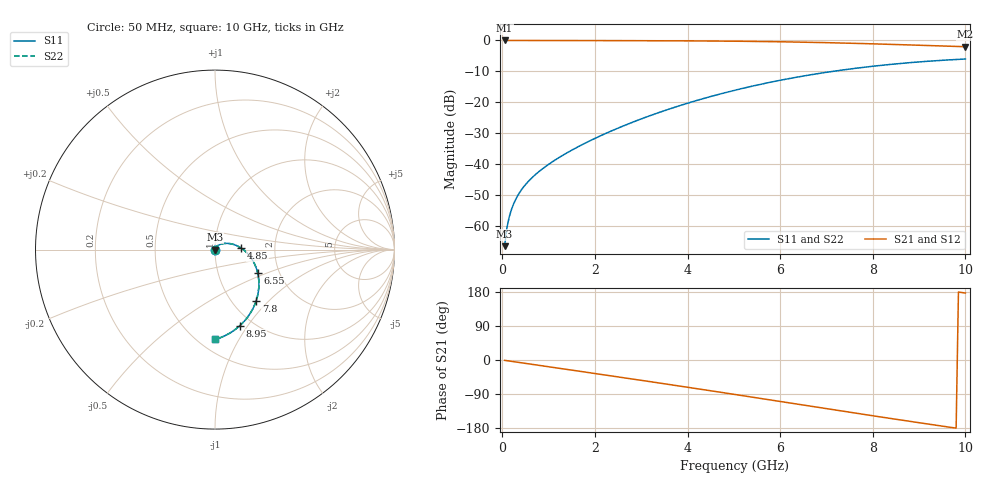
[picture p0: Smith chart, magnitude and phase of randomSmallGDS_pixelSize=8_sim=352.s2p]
! freq	dB(S11)	phase(S11)	dB(S12)	phase(S12)
!  dB(S21)	phase(S21)	dB(S22)	phase(S22)
!S-par simulation data
#  GHz  S  DB  R 50
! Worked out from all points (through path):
!   200 points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, 50 MHz to 10 GHz, reference 50 ohm
!   highest |S21| = 0.00 dB at 50 MHz (marker M1); lowest = -2.0 dB at 10 GHz (marker M2)
!   group delay of S21, straight-line fit = 51.4 ps
!   lowest |S11| = -66.6 dB at 50 MHz (marker M3), VSWR 1.00, Z = 50 + j0.0463 ohm
!   |S11| at or under -10 dB: start of sweep to 7.141 GHz
!   |S22| runs from -66.6 to -6.0 dB; largest |S21 - S12| = 0
!   S11 on the Smith chart (normalised r, x): 50 MHz: 1.00, +0.00; 4.85 GHz: 1.34, +0.02; 6.55 GHz: 1.55, -0.43; 7.8 GHz: 1.28, -0.85; 8.95 GHz: 0.87, -0.92; 10 GHz: 0.60, -0.80
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0.05  -66.62 83.2  -0.00 -0.9  -0.00 -0.9  -66.62 83.2
0.1  -60.64 84.8  -0.00 -1.8  -0.00 -1.8  -60.64 84.8
0.15  -57.14 84.6  -0.00 -2.7  -0.00 -2.7  -57.14 84.6
0.2  -54.66 84.0  -0.00 -3.6  -0.00 -3.6  -54.66 84.0
0.3  -51.16 82.5  -0.01 -5.4  -0.01 -5.4  -51.16 82.4
0.45  -47.64 80.1  -0.01 -8.1  -0.01 -8.1  -47.64 80.1
0.65  -44.33 77.1  -0.01 -11.6  -0.01 -11.6  -44.33 77.1
0.95  -40.65 72.7  -0.02 -16.9  -0.02 -16.9  -40.65 72.7
1.3  -37.24 67.3  -0.03 -23.1  -0.03 -23.1  -37.24 67.3
1.75  -33.56 59.9  -0.04 -31.2  -0.04 -31.2  -33.56 59.8
2.55  -28.07 45.8  -0.06 -45.5  -0.06 -45.5  -28.07 45.8
3.4  -23.25 30.4  -0.09 -60.9  -0.09 -60.9  -23.25 30.4
4.15  -19.65 16.6  -0.14 -74.7  -0.14 -74.7  -19.65 16.6
4.85  -16.77 3.6  -0.22 -87.7  -0.22 -87.7  -16.77 3.5
5.05  -16.02 -0.2  -0.25 -91.4  -0.25 -91.4  -16.02 -0.2
5.8  -13.50 -14.2  -0.38 -105.6  -0.38 -105.6  -13.50 -14.2
6.55  -11.39 -28.3  -0.57 -119.8  -0.57 -119.8  -11.39 -28.3
6.7  -11.02 -31.1  -0.62 -122.7  -0.62 -122.7  -11.02 -31.1
7.8  -8.70 -51.5  -1.01 -143.4  -1.01 -143.4  -8.70 -51.5
8.35  -7.81 -61.4  -1.25 -153.7  -1.25 -153.7  -7.81 -61.4
8.95  -7.01 -72.0  -1.53 -164.6  -1.53 -164.6  -7.01 -72.0
10  -6.01 -89.9  -2.03 176.7  -2.03 176.7  -6.01 -89.9
